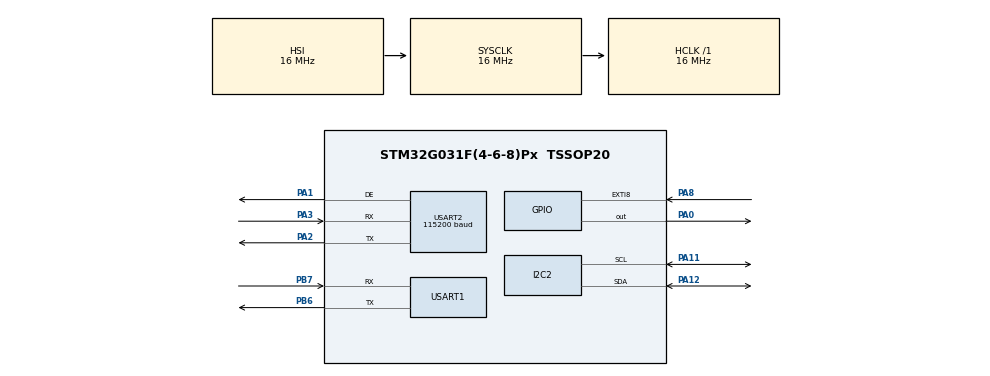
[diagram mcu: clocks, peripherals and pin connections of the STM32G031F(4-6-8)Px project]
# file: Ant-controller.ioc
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Mcu.Family=STM32G0
Mcu.Name=STM32G031F(4-6-8)Px
Mcu.Package=TSSOP20
NVIC.TIM3_IRQn=true\:0\:0\:false\:false\:true\:true\:true\:true
NVIC.USART2_IRQn=true\:0\:0\:false\:false\:true\:true\:true\:true
PA0.Signal=GPIO_Output
PA1.Mode=Hardware Flow Control (RS485)
PA1.Signal=USART2_DE
PA11\ [PA9].Mode=I2C
PA11\ [PA9].Signal=I2C2_SCL
PA12\ [PA10].Mode=I2C
PA12\ [PA10].Signal=I2C2_SDA
PA13.Mode=Serial_Wire
PA13.Signal=SYS_SWDIO
PA14-BOOT0.Mode=Serial_Wire
PA14-BOOT0.Signal=SYS_SWCLK
PA14-BOOT0__PA15.StandardMode=true
PA2.Mode=Asynchronous
PA2.Signal=USART2_TX
PA3.Mode=Asynchronous
PA3.Signal=USART2_RX
PA8.Signal=GPXTI8
PB0__PB1__PB2__PA8.StandardMode=true
PB3__PB4__PB5__PB6.StandardMode=true
PB6.Mode=Asynchronous
PB6.Signal=USART1_TX
PB7.Mode=Asynchronous
PB7.Signal=USART1_RX
PB7__PB8.StandardMode=true
PC14-OSC32_IN\ (PC14).Mode=LSE-External-Oscillator
PC14-OSC32_IN\ (PC14).Signal=RCC_OSC32_IN
PC14-OSC32_IN\ (PC14)__PB9.StandardMode=true
PC15-OSC32_OUT\ (PC15).Mode=LSE-External-Oscillator
PC15-OSC32_OUT\ (PC15).Signal=RCC_OSC32_OUT
ProjectManager.HeapSize=0x200
ProjectManager.StackSize=0x400
ProjectManager.TargetToolchain=STM32CubeIDE
RCC.AHBFreq_Value=16000000
RCC.CortexFreq_Value=16000000
RCC.EXTERNAL_CLOCK_VALUE=12288000
RCC.HCLKFreq_Value=16000000
RCC.HSE_VALUE=8000000
RCC.HSI_VALUE=16000000
RCC.SYSCLKFreq_VALUE=16000000
RCC.VCOOutputFreq_Value=128000000
TIM3.Period=50
TIM3.Prescaler=15
USART1.VirtualMode-Asynchronous=VM_ASYNC
USART2.BaudRate=115200
USART2.VirtualMode-Asynchronous=VM_ASYNC
USART2.VirtualMode-Hardware\ Flow\ Control\ (RS485)=VM_ASYNC
VP_TIM3_VS_ClockSourceINT.Mode=Internal
board=custom

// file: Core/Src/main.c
/* USER CODE BEGIN Header */
/**
 ******************************************************************************
 * @file           : main.c
 * @brief          : Main program body
 ******************************************************************************
 * @attention
 *
 * Copyright (c) 2025 STMicroelectronics.
 * All rights reserved.
 *
 * This software is licensed under terms that can be found in the LICENSE file
 * in the root directory of this software component.
 * If no LICENSE file comes with this software, it is provided AS-IS.
 *
 ******************************************************************************
 */
/* USER CODE END Header */
#include "main.h"

/* USER CODE BEGIN Includes */
#include "mb.h"
#include "mbport.h"
#include "mt_port.h"
#include "mbdata.h"
#include "inertia_math.h"
#include "sensors.h"
#include "string.h"
/* USER CODE END Includes */

/* USER CODE BEGIN PD */
#define DATA_UPD_TIME 50U // in ms
/* USER CODE END PD */

I2C_HandleTypeDef hi2c2;

TIM_HandleTypeDef htim3;

UART_HandleTypeDef huart1;
UART_HandleTypeDef huart2;

/* USER CODE BEGIN PV */
extern module_ctrl_t Data;
extern sensors_ctrl_t sensors_data;

uint8_t captured_pos = 0x00;
float init_elev = 0.0f;
float init_yaw = 0.0f;

uint32_t data_upd_time_prev = 0;
/* USER CODE END PV */

void SystemClock_Config(void);
static void MX_GPIO_Init(void);
static void MX_I2C2_Init(void);
static void MX_USART1_UART_Init(void);
static void MX_USART2_UART_Init(void);
static void MX_TIM3_Init(void);
/* USER CODE BEGIN PFP */
uint8_t capture_init_pos(void);
/* USER CODE END PFP */

/* USER CODE BEGIN 0 */
uint8_t capture_init_pos(void) {
	uint8_t err = 0x00;
	err = lsm6dsox_read_acc();
	Data.acc_raw[0] = lsm6dsox_from_fs2_to_mg(sensors_data.acc_data_raw[0]);
	Data.acc_raw[1] = lsm6dsox_from_fs2_to_mg(sensors_data.acc_data_raw[1]);
	Data.acc_raw[2] = lsm6dsox_from_fs2_to_mg(sensors_data.acc_data_raw[2]);
	err = lsm6dsox_read_gyro();
	Data.gyro_raw[0] = lsm6dsox_from_fs125_to_mdps(sensors_data.gyro_data_raw[0]);
	Data.gyro_raw[1] = lsm6dsox_from_fs125_to_mdps(sensors_data.gyro_data_raw[1]);
	Data.gyro_raw[2] = lsm6dsox_from_fs125_to_mdps(sensors_data.gyro_data_raw[2]);
	/*err = lis3mdl_read_mag();
	 Data.mag_raw[0] = lis3mdl_from_fs4_to_gauss(sensors_data.mag_data_raw[0]);
	 Data.mag_raw[1] = lis3mdl_from_fs4_to_gauss(sensors_data.mag_data_raw[1]);
	 Data.mag_raw[2] = lis3mdl_from_fs4_to_gauss(sensors_data.mag_data_raw[2]);*/
	if (!err) {
		init_elev = calc_elev_angle(&Data);
		//init_yaw = calc_yaw_angle(&Data);
	}
	return err;
}
/* USER CODE END 0 */

int main(void) {

	/* MCU Configuration--------------------------------------------------------*/

	/* Reset of all peripherals, Initializes the Flash interface and the Systick. */
	HAL_Init();

	/* Configure the system clock */
	SystemClock_Config();

	/* Initialize all configured peripherals */
	MX_GPIO_Init();
	MX_I2C2_Init();
	MX_USART1_UART_Init();
	MX_USART2_UART_Init();
	MX_TIM3_Init();
	/* USER CODE BEGIN 2 */
	HAL_GPIO_WritePin(GPIOA, 0, GPIO_PIN_SET); /* Driver HARDSTOP connected to GND */

	MT_PORT_SetTimerModule(&htim3);
	MT_PORT_SetUartModule(&huart2);
	mb_data_init();

	uint8_t err = lsm6dsox_init();
	err = lis3mdl_init();

	eMBErrorCode eStatus;
	eStatus = eMBInit(MB_RTU, 0x0A, 0, 115200, MB_PAR_NONE);
	eStatus = eMBEnable();
	/* USER CODE END 2 */

	/* Infinite loop */
	/* USER CODE BEGIN WHILE */
	while (1) {
		eMBPoll();
		/* USER CODE END WHILE */

		/* USER CODE BEGIN 3 */
		switch (Data.mode) {
		case 0xFFFF:
			captured_pos = 0x00;
			break;
		case 0x0001:
			if (HAL_GetTick() - data_upd_time_prev > DATA_UPD_TIME) {
				err = lsm6dsox_read_acc();
				Data.acc_raw[0] = lsm6dsox_from_fs2_to_mg(sensors_data.acc_data_raw[0]);
				Data.acc_raw[1] = lsm6dsox_from_fs2_to_mg(sensors_data.acc_data_raw[1]);
				Data.acc_raw[2] = lsm6dsox_from_fs2_to_mg(sensors_data.acc_data_raw[2]);
				err = lsm6dsox_read_gyro();
				Data.gyro_raw[0] = lsm6dsox_from_fs125_to_mdps(sensors_data.gyro_data_raw[0]);
				Data.gyro_raw[1] = lsm6dsox_from_fs125_to_mdps(sensors_data.gyro_data_raw[1]);
				Data.gyro_raw[2] = lsm6dsox_from_fs125_to_mdps(sensors_data.gyro_data_raw[2]);
				/*err = lis3mdl_read_mag();
				 Data.mag_raw[0] = lis3mdl_from_fs4_to_gauss(sensors_data.mag_data_raw[0]);
				 Data.mag_raw[1] = lis3mdl_from_fs4_to_gauss(sensors_data.mag_data_raw[1]);
				 Data.mag_raw[2] = lis3mdl_from_fs4_to_gauss(sensors_data.mag_data_raw[2]);*/
				Data.status = err;
				data_upd_time_prev = HAL_GetTick();
			}
			break;
		case 0x0002:
			if (!captured_pos) {
				if (capture_init_pos() == 0) {
					captured_pos = 0x01;
				} else {
					Data.mode = 0xFFFF;
					break;
				}
			}
			if (HAL_GetTick() - data_upd_time_prev > DATA_UPD_TIME) {
				err = lsm6dsox_read_acc();
				Data.acc_raw[0] = lsm6dsox_from_fs2_to_mg(sensors_data.acc_data_raw[0]);
				Data.acc_raw[1] = lsm6dsox_from_fs2_to_mg(sensors_data.acc_data_raw[1]);
				Data.acc_raw[2] = lsm6dsox_from_fs2_to_mg(sensors_data.acc_data_raw[2]);
				err = lsm6dsox_read_gyro();
				Data.gyro_raw[0] = lsm6dsox_from_fs125_to_mdps(sensors_data.gyro_data_raw[0]);
				Data.gyro_raw[1] = lsm6dsox_from_fs125_to_mdps(sensors_data.gyro_data_raw[1]);
				Data.gyro_raw[2] = lsm6dsox_from_fs125_to_mdps(sensors_data.gyro_data_raw[2]);
				/*err = lis3mdl_read_mag();
				 Data.mag_raw[0] = lis3mdl_from_fs4_to_gauss(sensors_data.mag_data_raw[0]);
				 Data.mag_raw[1] = lis3mdl_from_fs4_to_gauss(sensors_data.mag_data_raw[1]);
				 Data.mag_raw[2] = lis3mdl_from_fs4_to_gauss(sensors_data.mag_data_raw[2]);*/
				Data.status = err;
				Data.elev_angle = calc_elev_angle(&Data);
				Data.elev_angle_d = Data.elev_angle - init_elev;
				//Data.yaw_angle = calc_yaw_angle(&Data);
				//Data.yaw_angle_d = Data.yaw_angle - init_yaw;
				data_upd_time_prev = HAL_GetTick();
			}
			break;
		default:
			Data.mode = 0xFFFF;
			break;
		}
	}
	/* USER CODE END 3 */
}

void SystemClock_Config(void) {
	RCC_OscInitTypeDef RCC_OscInitStruct = { 0 };
	RCC_ClkInitTypeDef RCC_ClkInitStruct = { 0 };

	/** Configure the main internal regulator output voltage
	 */
	HAL_PWREx_ControlVoltageScaling(PWR_REGULATOR_VOLTAGE_SCALE1);

	/** Initializes the RCC Oscillators according to the specified parameters
	 * in the RCC_OscInitTypeDef structure.
	 */
	RCC_OscInitStruct.OscillatorType = RCC_OSCILLATORTYPE_HSI;
	RCC_OscInitStruct.HSIState = RCC_HSI_ON;
	RCC_OscInitStruct.HSIDiv = RCC_HSI_DIV1;
	RCC_OscInitStruct.HSICalibrationValue = RCC_HSICALIBRATION_DEFAULT;
	RCC_OscInitStruct.PLL.PLLState = RCC_PLL_NONE;
	if (HAL_RCC_OscConfig(&RCC_OscInitStruct) != HAL_OK) {
		Error_Handler();
	}

	/** Initializes the CPU, AHB and APB buses clocks
	 */
	RCC_ClkInitStruct.ClockType = RCC_CLOCKTYPE_HCLK | RCC_CLOCKTYPE_SYSCLK
			| RCC_CLOCKTYPE_PCLK1;
	RCC_ClkInitStruct.SYSCLKSource = RCC_SYSCLKSOURCE_HSI;
	RCC_ClkInitStruct.AHBCLKDivider = RCC_SYSCLK_DIV1;
	RCC_ClkInitStruct.APB1CLKDivider = RCC_HCLK_DIV1;

	if (HAL_RCC_ClockConfig(&RCC_ClkInitStruct, FLASH_LATENCY_0) != HAL_OK) {
		Error_Handler();
	}
}

static void MX_I2C2_Init(void) {

	hi2c2.Instance = I2C2;
	hi2c2.Init.Timing = 0x00303D5B;
	hi2c2.Init.OwnAddress1 = 0;
	hi2c2.Init.AddressingMode = I2C_ADDRESSINGMODE_7BIT;
	hi2c2.Init.DualAddressMode = I2C_DUALADDRESS_DISABLE;
	hi2c2.Init.OwnAddress2 = 0;
	hi2c2.Init.OwnAddress2Masks = I2C_OA2_NOMASK;
	hi2c2.Init.GeneralCallMode = I2C_GENERALCALL_DISABLE;
	hi2c2.Init.NoStretchMode = I2C_NOSTRETCH_DISABLE;
	if (HAL_I2C_Init(&hi2c2) != HAL_OK) {
		Error_Handler();
	}

	/** Configure Analogue filter
	 */
	if (HAL_I2CEx_ConfigAnalogFilter(&hi2c2, I2C_ANALOGFILTER_ENABLE)
			!= HAL_OK) {
		Error_Handler();
	}

	/** Configure Digital filter
	 */
	if (HAL_I2CEx_ConfigDigitalFilter(&hi2c2, 0) != HAL_OK) {
		Error_Handler();
	}

}

static void MX_TIM3_Init(void) {

	TIM_ClockConfigTypeDef sClockSourceConfig = { 0 };
	TIM_MasterConfigTypeDef sMasterConfig = { 0 };

	htim3.Instance = TIM3;
	htim3.Init.Prescaler = 15;
	htim3.Init.CounterMode = TIM_COUNTERMODE_UP;
	htim3.Init.Period = 50;
	htim3.Init.ClockDivision = TIM_CLOCKDIVISION_DIV1;
	htim3.Init.AutoReloadPreload = TIM_AUTORELOAD_PRELOAD_DISABLE;
	if (HAL_TIM_Base_Init(&htim3) != HAL_OK) {
		Error_Handler();
	}
	sClockSourceConfig.ClockSource = TIM_CLOCKSOURCE_INTERNAL;
	if (HAL_TIM_ConfigClockSource(&htim3, &sClockSourceConfig) != HAL_OK) {
		Error_Handler();
	}
	sMasterConfig.MasterOutputTrigger = TIM_TRGO_RESET;
	sMasterConfig.MasterSlaveMode = TIM_MASTERSLAVEMODE_DISABLE;
	if (HAL_TIMEx_MasterConfigSynchronization(&htim3, &sMasterConfig)
			!= HAL_OK) {
		Error_Handler();
	}

}

static void MX_USART1_UART_Init(void) {

	huart1.Instance = USART1;
	huart1.Init.BaudRate = 115200;
	huart1.Init.WordLength = UART_WORDLENGTH_8B;
	huart1.Init.StopBits = UART_STOPBITS_1;
	huart1.Init.Parity = UART_PARITY_NONE;
	huart1.Init.Mode = UART_MODE_TX_RX;
	huart1.Init.HwFlowCtl = UART_HWCONTROL_NONE;
	huart1.Init.OverSampling = UART_OVERSAMPLING_16;
	huart1.Init.OneBitSampling = UART_ONE_BIT_SAMPLE_DISABLE;
	huart1.Init.ClockPrescaler = UART_PRESCALER_DIV1;
	huart1.AdvancedInit.AdvFeatureInit = UART_ADVFEATURE_NO_INIT;
	if (HAL_UART_Init(&huart1) != HAL_OK) {
		Error_Handler();
	}
	if (HAL_UARTEx_SetTxFifoThreshold(&huart1, UART_TXFIFO_THRESHOLD_1_8)
			!= HAL_OK) {
		Error_Handler();
	}
	if (HAL_UARTEx_SetRxFifoThreshold(&huart1, UART_RXFIFO_THRESHOLD_1_8)
			!= HAL_OK) {
		Error_Handler();
	}
	if (HAL_UARTEx_DisableFifoMode(&huart1) != HAL_OK) {
		Error_Handler();
	}

}

static void MX_USART2_UART_Init(void) {

	huart2.Instance = USART2;
	huart2.Init.BaudRate = 115200;
	huart2.Init.WordLength = UART_WORDLENGTH_8B;
	huart2.Init.StopBits = UART_STOPBITS_1;
	huart2.Init.Parity = UART_PARITY_NONE;
	huart2.Init.Mode = UART_MODE_TX_RX;
	huart2.Init.HwFlowCtl = UART_HWCONTROL_NONE;
	huart2.Init.OverSampling = UART_OVERSAMPLING_16;
	huart2.Init.OneBitSampling = UART_ONE_BIT_SAMPLE_DISABLE;
	huart2.Init.ClockPrescaler = UART_PRESCALER_DIV1;
	huart2.AdvancedInit.AdvFeatureInit = UART_ADVFEATURE_NO_INIT;
	if (HAL_RS485Ex_Init(&huart2, UART_DE_POLARITY_HIGH, 0, 0) != HAL_OK) {
		Error_Handler();
	}

}

static void MX_GPIO_Init(void) {
	GPIO_InitTypeDef GPIO_InitStruct = { 0 };

	/* GPIO Ports Clock Enable */
	__HAL_RCC_GPIOB_CLK_ENABLE();
	__HAL_RCC_GPIOC_CLK_ENABLE();
	__HAL_RCC_GPIOA_CLK_ENABLE();

	/*Configure GPIO pin Output Level */
	HAL_GPIO_WritePin(GPIOA, GPIO_PIN_0, GPIO_PIN_SET);

	/*Configure GPIO pin : PA0 */
	GPIO_InitStruct.Pin = GPIO_PIN_0;
	GPIO_InitStruct.Mode = GPIO_MODE_OUTPUT_PP;
	GPIO_InitStruct.Pull = GPIO_NOPULL;
	GPIO_InitStruct.Speed = GPIO_SPEED_FREQ_LOW;
	HAL_GPIO_Init(GPIOA, &GPIO_InitStruct);

	/*Configure GPIO pin : PA8 */
	GPIO_InitStruct.Pin = GPIO_PIN_8;
	GPIO_InitStruct.Mode = GPIO_MODE_IT_RISING;
	GPIO_InitStruct.Pull = GPIO_NOPULL;
	HAL_GPIO_Init(GPIOA, &GPIO_InitStruct);

}

/* USER CODE BEGIN 4 */
eMBErrorCode eMBRegInputCB(UCHAR *pucRegBuffer, USHORT usAddress,
		USHORT usNRegs) {
	return MB_ENOREG;
}
/*----------------------------------------------------------------------------*/
eMBErrorCode eMBRegHoldingCB(UCHAR *pucRegBuffer, USHORT usAddress,
		USHORT usNRegs, eMBRegisterMode eMode) {
	eMBErrorCode eStatus = MB_ENOERR;
	if (eMode == MB_REG_WRITE) {
		int iRegIndex;
		if ((usAddress >= REG_INPUT_START)
				&& (usAddress + usNRegs <= REG_INPUT_NREGS + 1)) {
			iRegIndex = (int) (usAddress - 1);
			memcpy((unsigned char*) &Data + iRegIndex * 2, pucRegBuffer,
					usNRegs * 2);
		} else {
			eStatus = MB_ENOREG;
		}
	} else if (eMode == MB_REG_READ) {
		int iRegIndex;
		if ((usAddress >= REG_INPUT_START)
				&& (usAddress + usNRegs <= REG_INPUT_NREGS + 1)) {
			iRegIndex = (int) (usAddress - 1);
			memcpy(pucRegBuffer, (unsigned char*) &Data + iRegIndex * 2,
					usNRegs * 2);
		} else {
			eStatus = MB_ENOREG;
		}
	} else {
		eStatus = MB_ENOREG;
	}
	return eStatus;
}
/*----------------------------------------------------------------------------*/
eMBErrorCode eMBRegCoilsCB(UCHAR *pucRegBuffer, USHORT usAddress,
		USHORT usNCoils, eMBRegisterMode eMode) {
	return MB_ENOREG;
}
/*----------------------------------------------------------------------------*/
eMBErrorCode eMBRegDiscreteCB(UCHAR *pucRegBuffer, USHORT usAddress,
		USHORT usNDiscrete) {
	return MB_ENOREG;
}
/* USER CODE END 4 */

void Error_Handler(void) {
	__disable_irq();
	while (1) {
	}
}
